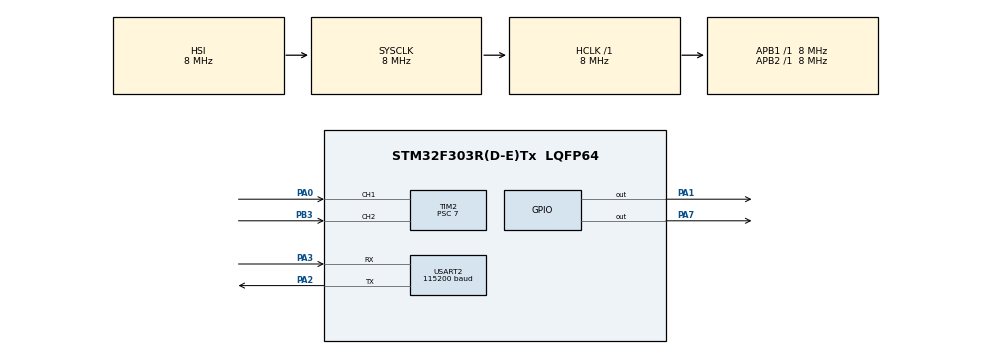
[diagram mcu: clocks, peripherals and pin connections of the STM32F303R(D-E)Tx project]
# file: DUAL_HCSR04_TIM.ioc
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Mcu.Family=STM32F3
Mcu.Name=STM32F303R(D-E)Tx
Mcu.Package=LQFP64
NVIC.PriorityGroup=NVIC_PRIORITYGROUP_4
NVIC.TIM1_UP_TIM16_IRQn=true\:0\:0\:false\:false\:true\:true
NVIC.TIM2_IRQn=true\:0\:0\:false\:false\:true\:true
PA0.Signal=S_TIM2_CH1_ETR
PA1.Signal=GPIO_Output
PA2.Mode=Asynchronous
PA2.Signal=USART2_TX
PA3.Mode=Asynchronous
PA3.Signal=USART2_RX
PA7.Signal=GPIO_Output
PB3.Signal=S_TIM2_CH2
ProjectManager.HeapSize=0x200
ProjectManager.StackSize=0x400
ProjectManager.TargetToolchain=TrueSTUDIO
RCC.AHBFreq_Value=8000000
RCC.APB1Freq_Value=8000000
RCC.APB2Freq_Value=8000000
RCC.CortexFreq_Value=8000000
RCC.HSE_VALUE=8000000
RCC.HSI_VALUE=8000000
RCC.LSE_VALUE=32768
RCC.SYSCLKFreq_VALUE=8000000
RCC.USBFreq_Value=16000000
SH.S_TIM2_CH1_ETR.0=TIM2_CH1,Input_Capture1_from_TI1
SH.S_TIM2_CH2.0=TIM2_CH2,Input_Capture2_from_TI2
TIM1.Period=10
TIM1.Prescaler=7
TIM2.Channel-Input_Capture1_from_TI1=TIM_CHANNEL_1
TIM2.Channel-Input_Capture2_from_TI2=TIM_CHANNEL_2
TIM2.ICPolarity_CH1=TIM_INPUTCHANNELPOLARITY_BOTHEDGE
TIM2.ICPolarity_CH2=TIM_INPUTCHANNELPOLARITY_BOTHEDGE
TIM2.Period=0xffffffff
TIM2.Prescaler=7
USART2.BaudRate=115200
USART2.VirtualMode-Asynchronous=VM_ASYNC
VP_TIM1_VS_ClockSourceINT.Mode=Internal
board=custom

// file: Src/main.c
/**
  ******************************************************************************
  * @file           : main.c
  * @brief          : Main program body
  ******************************************************************************
  ** This notice applies to any and all portions of this file
  * that are not between comment pairs USER CODE BEGIN and
  * USER CODE END. Other portions of this file, whether
  * inserted by the user or by software development tools
  * are owned by their respective copyright owners.
  *
  * COPYRIGHT(c) 2018 STMicroelectronics
  *
  * Redistribution and use in source and binary forms, with or without modification,
  * are permitted provided that the following conditions are met:
  *   1. Redistributions of source code must retain the above copyright notice,
  *      this list of conditions and the following disclaimer.
  *   2. Redistributions in binary form must reproduce the above copyright notice,
  *      this list of conditions and the following disclaimer in the documentation
  *      and/or other materials provided with the distribution.
  *   3. Neither the name of STMicroelectronics nor the names of its contributors
  *      may be used to endorse or promote products derived from this software
  *      without specific prior written permission.
  *
  * THIS SOFTWARE IS PROVIDED BY THE COPYRIGHT HOLDERS AND CONTRIBUTORS "AS IS"
  * AND ANY EXPRESS OR IMPLIED WARRANTIES, INCLUDING, BUT NOT LIMITED TO, THE
  * IMPLIED WARRANTIES OF MERCHANTABILITY AND FITNESS FOR A PARTICULAR PURPOSE ARE
  * DISCLAIMED. IN NO EVENT SHALL THE COPYRIGHT HOLDER OR CONTRIBUTORS BE LIABLE
  * FOR ANY DIRECT, INDIRECT, INCIDENTAL, SPECIAL, EXEMPLARY, OR CONSEQUENTIAL
  * DAMAGES (INCLUDING, BUT NOT LIMITED TO, PROCUREMENT OF SUBSTITUTE GOODS OR
  * SERVICES; LOSS OF USE, DATA, OR PROFITS; OR BUSINESS INTERRUPTION) HOWEVER
  * CAUSED AND ON ANY THEORY OF LIABILITY, WHETHER IN CONTRACT, STRICT LIABILITY,
  * OR TORT (INCLUDING NEGLIGENCE OR OTHERWISE) ARISING IN ANY WAY OUT OF THE USE
  * OF THIS SOFTWARE, EVEN IF ADVISED OF THE POSSIBILITY OF SUCH DAMAGE.
  *
  ******************************************************************************
  */
#include "main.h"
#include "stm32f3xx_hal.h"

TIM_HandleTypeDef htim1;
TIM_HandleTypeDef htim2;

UART_HandleTypeDef huart2;

/* USER CODE BEGIN PV */
/* Private variables ---------------------------------------------------------*/

/* USER CODE END PV */

void SystemClock_Config(void);
static void MX_GPIO_Init(void);
static void MX_TIM2_Init(void);
static void MX_TIM1_Init(void);
static void MX_USART2_UART_Init(void);

/* USER CODE BEGIN PFP */
/* Private function prototypes -----------------------------------------------*/

/* USER CODE END PFP */

/* USER CODE BEGIN 0 */
struct PIN{
	GPIO_TypeDef *GPIO;
	uint16_t PIN;
};
struct MAP{
	TIM_HandleTypeDef* htim;
	PIN TRIG;
	PIN ECHO;
};

void HAL_TIM_IC_CaptureCallback(TIM_HandleTypeDef* htim){
	if(htim->Instance==TIM2){
		if((htim->Channel==HAL_TIM_ACTIVE_CHANNEL_1 && HAL_GPIO_ReadPin(GPIOA,GPIO_PIN_0)==1) || (htim->Channel==HAL_TIM_ACTIVE_CHANNEL_2 && HAL_GPIO_ReadPin(GPIOB,GPIO_PIN_3)==1)){
			__HAL_TIM_SET_COUNTER(htim,0);
		}else{
			int cnt=__HAL_TIM_GET_COUNTER(htim);
			double distance=cnt/(double)58;
			int integer=(int)distance;
			int point=(int)((distance-integer)*100);
			char tosend[20]={0};
			sprintf(tosend,"%d: %d.%02d\r\n", htim->Channel, integer, point);
			HAL_UART_Transmit(&huart2,tosend,sizeof(tosend),0xffff);
			HAL_TIM_Base_Start_IT(&htim1);
		}
	}
}

int tim1Count=14000;
void HAL_TIM_PeriodElapsedCallback(TIM_HandleTypeDef *htim){

	if(htim->Instance==TIM1){
		if(tim1Count==14000){
			HAL_TIM_Base_Stop_IT(&htim1);
			if(HAL_GPIO_ReadPin(GPIOA,GPIO_PIN_1)==0){
				HAL_GPIO_WritePin(GPIOA,GPIO_PIN_1,1);
				HAL_TIM_Base_Start_IT(&htim1);
			}else{
				tim1Count=0;
				HAL_GPIO_WritePin(GPIOA,GPIO_PIN_1,0);
			}
		}else if(tim1Count==7000){
			//tim1Count++;

			HAL_TIM_Base_Stop_IT(&htim1);
			if(HAL_GPIO_ReadPin(GPIOA,GPIO_PIN_7)==0){
				HAL_GPIO_WritePin(GPIOA,GPIO_PIN_7,1);
				HAL_TIM_Base_Start_IT(&htim1);
			}else{
				tim1Count++;
				HAL_GPIO_WritePin(GPIOA,GPIO_PIN_7,0);
			}
		}else{
			tim1Count++;
		}
	}
}

/* USER CODE END 0 */

int main(void)
{

  /* MCU Configuration----------------------------------------------------------*/

  /* Reset of all peripherals, Initializes the Flash interface and the Systick. */
  HAL_Init();

  /* Configure the system clock */
  SystemClock_Config();

  /* Initialize all configured peripherals */
  MX_GPIO_Init();
  MX_TIM2_Init();
  MX_TIM1_Init();
  MX_USART2_UART_Init();
  /* USER CODE BEGIN 2 */
  HAL_TIM_IC_Start_IT(&htim2,TIM_CHANNEL_1);
  HAL_TIM_IC_Start_IT(&htim2,TIM_CHANNEL_2);
  HAL_TIM_Base_Start_IT(&htim1);
  /* USER CODE END 2 */

  /* Infinite loop */
  while (1)
  {

  }

}

void SystemClock_Config(void)
{

  RCC_OscInitTypeDef RCC_OscInitStruct;
  RCC_ClkInitTypeDef RCC_ClkInitStruct;
  RCC_PeriphCLKInitTypeDef PeriphClkInit;

    /**Initializes the CPU, AHB and APB busses clocks
    */
  RCC_OscInitStruct.OscillatorType = RCC_OSCILLATORTYPE_HSI;
  RCC_OscInitStruct.HSIState = RCC_HSI_ON;
  RCC_OscInitStruct.HSICalibrationValue = 16;
  RCC_OscInitStruct.PLL.PLLState = RCC_PLL_NONE;
  if (HAL_RCC_OscConfig(&RCC_OscInitStruct) != HAL_OK)
  {
    _Error_Handler(__FILE__, __LINE__);
  }

    /**Initializes the CPU, AHB and APB busses clocks
    */
  RCC_ClkInitStruct.ClockType = RCC_CLOCKTYPE_HCLK|RCC_CLOCKTYPE_SYSCLK
                              |RCC_CLOCKTYPE_PCLK1|RCC_CLOCKTYPE_PCLK2;
  RCC_ClkInitStruct.SYSCLKSource = RCC_SYSCLKSOURCE_HSI;
  RCC_ClkInitStruct.AHBCLKDivider = RCC_SYSCLK_DIV1;
  RCC_ClkInitStruct.APB1CLKDivider = RCC_HCLK_DIV1;
  RCC_ClkInitStruct.APB2CLKDivider = RCC_HCLK_DIV1;

  if (HAL_RCC_ClockConfig(&RCC_ClkInitStruct, FLASH_LATENCY_0) != HAL_OK)
  {
    _Error_Handler(__FILE__, __LINE__);
  }

  PeriphClkInit.PeriphClockSelection = RCC_PERIPHCLK_USART2|RCC_PERIPHCLK_TIM1
                              |RCC_PERIPHCLK_TIM2;
  PeriphClkInit.Usart2ClockSelection = RCC_USART2CLKSOURCE_PCLK1;
  PeriphClkInit.Tim1ClockSelection = RCC_TIM1CLK_HCLK;
  PeriphClkInit.Tim2ClockSelection = RCC_TIM2CLK_HCLK;
  if (HAL_RCCEx_PeriphCLKConfig(&PeriphClkInit) != HAL_OK)
  {
    _Error_Handler(__FILE__, __LINE__);
  }

    /**Configure the Systick interrupt time
    */
  HAL_SYSTICK_Config(HAL_RCC_GetHCLKFreq()/1000);

    /**Configure the Systick
    */
  HAL_SYSTICK_CLKSourceConfig(SYSTICK_CLKSOURCE_HCLK);

  /* SysTick_IRQn interrupt configuration */
  HAL_NVIC_SetPriority(SysTick_IRQn, 0, 0);
}

/* TIM1 init function */
static void MX_TIM1_Init(void)
{

  TIM_ClockConfigTypeDef sClockSourceConfig;
  TIM_MasterConfigTypeDef sMasterConfig;

  htim1.Instance = TIM1;
  htim1.Init.Prescaler = 7;
  htim1.Init.CounterMode = TIM_COUNTERMODE_UP;
  htim1.Init.Period = 10;
  htim1.Init.ClockDivision = TIM_CLOCKDIVISION_DIV1;
  htim1.Init.RepetitionCounter = 0;
  htim1.Init.AutoReloadPreload = TIM_AUTORELOAD_PRELOAD_DISABLE;
  if (HAL_TIM_Base_Init(&htim1) != HAL_OK)
  {
    _Error_Handler(__FILE__, __LINE__);
  }

  sClockSourceConfig.ClockSource = TIM_CLOCKSOURCE_INTERNAL;
  if (HAL_TIM_ConfigClockSource(&htim1, &sClockSourceConfig) != HAL_OK)
  {
    _Error_Handler(__FILE__, __LINE__);
  }

  sMasterConfig.MasterOutputTrigger = TIM_TRGO_RESET;
  sMasterConfig.MasterOutputTrigger2 = TIM_TRGO2_RESET;
  sMasterConfig.MasterSlaveMode = TIM_MASTERSLAVEMODE_DISABLE;
  if (HAL_TIMEx_MasterConfigSynchronization(&htim1, &sMasterConfig) != HAL_OK)
  {
    _Error_Handler(__FILE__, __LINE__);
  }

}

/* TIM2 init function */
static void MX_TIM2_Init(void)
{

  TIM_MasterConfigTypeDef sMasterConfig;
  TIM_IC_InitTypeDef sConfigIC;

  htim2.Instance = TIM2;
  htim2.Init.Prescaler = 7;
  htim2.Init.CounterMode = TIM_COUNTERMODE_UP;
  htim2.Init.Period = 0xffffffff;
  htim2.Init.ClockDivision = TIM_CLOCKDIVISION_DIV1;
  htim2.Init.AutoReloadPreload = TIM_AUTORELOAD_PRELOAD_DISABLE;
  if (HAL_TIM_IC_Init(&htim2) != HAL_OK)
  {
    _Error_Handler(__FILE__, __LINE__);
  }

  sMasterConfig.MasterOutputTrigger = TIM_TRGO_RESET;
  sMasterConfig.MasterSlaveMode = TIM_MASTERSLAVEMODE_DISABLE;
  if (HAL_TIMEx_MasterConfigSynchronization(&htim2, &sMasterConfig) != HAL_OK)
  {
    _Error_Handler(__FILE__, __LINE__);
  }

  sConfigIC.ICPolarity = TIM_INPUTCHANNELPOLARITY_BOTHEDGE;
  sConfigIC.ICSelection = TIM_ICSELECTION_DIRECTTI;
  sConfigIC.ICPrescaler = TIM_ICPSC_DIV1;
  sConfigIC.ICFilter = 0;
  if (HAL_TIM_IC_ConfigChannel(&htim2, &sConfigIC, TIM_CHANNEL_1) != HAL_OK)
  {
    _Error_Handler(__FILE__, __LINE__);
  }

  if (HAL_TIM_IC_ConfigChannel(&htim2, &sConfigIC, TIM_CHANNEL_2) != HAL_OK)
  {
    _Error_Handler(__FILE__, __LINE__);
  }

}

/* USART2 init function */
static void MX_USART2_UART_Init(void)
{

  huart2.Instance = USART2;
  huart2.Init.BaudRate = 115200;
  huart2.Init.WordLength = UART_WORDLENGTH_8B;
  huart2.Init.StopBits = UART_STOPBITS_1;
  huart2.Init.Parity = UART_PARITY_NONE;
  huart2.Init.Mode = UART_MODE_TX_RX;
  huart2.Init.HwFlowCtl = UART_HWCONTROL_NONE;
  huart2.Init.OverSampling = UART_OVERSAMPLING_16;
  huart2.Init.OneBitSampling = UART_ONE_BIT_SAMPLE_DISABLE;
  huart2.AdvancedInit.AdvFeatureInit = UART_ADVFEATURE_NO_INIT;
  if (HAL_UART_Init(&huart2) != HAL_OK)
  {
    _Error_Handler(__FILE__, __LINE__);
  }

}

/** Configure pins as
        * Analog
        * Input
        * Output
        * EVENT_OUT
        * EXTI
*/
static void MX_GPIO_Init(void)
{

  GPIO_InitTypeDef GPIO_InitStruct;

  /* GPIO Ports Clock Enable */
  __HAL_RCC_GPIOA_CLK_ENABLE();
  __HAL_RCC_GPIOB_CLK_ENABLE();

  /*Configure GPIO pin Output Level */
  HAL_GPIO_WritePin(GPIOA, GPIO_PIN_1|GPIO_PIN_7, GPIO_PIN_RESET);

  /*Configure GPIO pins : PA1 PA7 */
  GPIO_InitStruct.Pin = GPIO_PIN_1|GPIO_PIN_7;
  GPIO_InitStruct.Mode = GPIO_MODE_OUTPUT_PP;
  GPIO_InitStruct.Pull = GPIO_NOPULL;
  GPIO_InitStruct.Speed = GPIO_SPEED_FREQ_LOW;
  HAL_GPIO_Init(GPIOA, &GPIO_InitStruct);

}

void _Error_Handler(char *file, int line)
{
  while(1)
  {
  }
}

/************************ (C) COPYRIGHT STMicroelectronics *****END OF FILE****/
